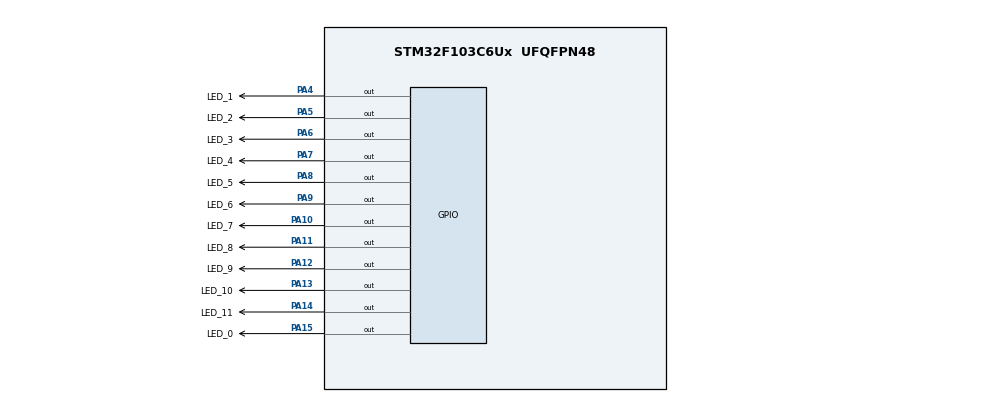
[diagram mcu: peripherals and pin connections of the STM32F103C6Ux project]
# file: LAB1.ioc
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Mcu.Family=STM32F1
Mcu.Name=STM32F103C6Ux
Mcu.Package=UFQFPN48
NVIC.PriorityGroup=NVIC_PRIORITYGROUP_4
PA10.GPIO_Label=LED_7
PA10.Signal=GPIO_Output
PA11.GPIO_Label=LED_8
PA11.Signal=GPIO_Output
PA12.GPIO_Label=LED_9
PA12.Signal=GPIO_Output
PA13.GPIO_Label=LED_10
PA13.Signal=GPIO_Output
PA14.GPIO_Label=LED_11
PA14.Signal=GPIO_Output
PA15.GPIO_Label=LED_0
PA15.Signal=GPIO_Output
PA4.GPIO_Label=LED_1
PA4.Signal=GPIO_Output
PA5.GPIO_Label=LED_2
PA5.Signal=GPIO_Output
PA6.GPIO_Label=LED_3
PA6.Signal=GPIO_Output
PA7.GPIO_Label=LED_4
PA7.Signal=GPIO_Output
PA8.GPIO_Label=LED_5
PA8.Signal=GPIO_Output
PA9.GPIO_Label=LED_6
PA9.Signal=GPIO_Output
ProjectManager.HeapSize=0x200
ProjectManager.StackSize=0x400
ProjectManager.TargetToolchain=STM32CubeIDE
RCC.APB1Freq_Value=8000000
RCC.APB2Freq_Value=8000000
VP_SYS_VS_ND.Mode=No_Debug
board=custom

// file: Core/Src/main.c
/* USER CODE BEGIN Header */
/**
  ******************************************************************************
  * @file           : main.c
  * @brief          : Main program body
  ******************************************************************************
  * @attention
  *
  * <h2><center>&copy; Copyright (c) 2025 STMicroelectronics.
  * All rights reserved.</center></h2>
  *
  * This software component is licensed by ST under BSD 3-Clause license,
  * the "License"; You may not use this file except in compliance with the
  * License. You may obtain a copy of the License at:
  *                        opensource.org/licenses/BSD-3-Clause
  *
  ******************************************************************************
  */
/* USER CODE END Header */
#include "main.h"

void SystemClock_Config(void);
static void MX_GPIO_Init(void);

int main(void)
{

  /* MCU Configuration--------------------------------------------------------*/

  /* Reset of all peripherals, Initializes the Flash interface and the Systick. */
  HAL_Init();

  /* Configure the system clock */
  SystemClock_Config();

  /* Initialize all configured peripherals */
  MX_GPIO_Init();
  /* USER CODE BEGIN 2 */
  void setNumberOnClock (int num){
	  switch (num){
	  	  case 1:
	  		  HAL_GPIO_WritePin(LED_1_GPIO_Port, LED_1_Pin, GPIO_PIN_SET);
	  		  break;
	  	  case 2:
	  		  HAL_GPIO_WritePin(LED_2_GPIO_Port, LED_2_Pin, GPIO_PIN_SET);
	  		  break;
	  	  case 3:
	  		  HAL_GPIO_WritePin(LED_3_GPIO_Port, LED_3_Pin, GPIO_PIN_SET);
	  		  break;
	  	  case 4:
	  		  HAL_GPIO_WritePin(LED_4_GPIO_Port, LED_4_Pin, GPIO_PIN_SET);
	  		  break;
	  	  case 5:
	  		  HAL_GPIO_WritePin(LED_5_GPIO_Port, LED_5_Pin, GPIO_PIN_SET);
	  		  break;
	  	  case 6:
	  		  HAL_GPIO_WritePin(LED_6_GPIO_Port, LED_6_Pin, GPIO_PIN_SET);
	  		  break;
	  	  case 7:
	  		  HAL_GPIO_WritePin(LED_7_GPIO_Port, LED_7_Pin, GPIO_PIN_SET);
	  		  break;
	  	  case 8:
	  		  HAL_GPIO_WritePin(LED_8_GPIO_Port, LED_8_Pin, GPIO_PIN_SET);
	  		  break;
	  	  case 9:
	  		  HAL_GPIO_WritePin(LED_9_GPIO_Port, LED_9_Pin, GPIO_PIN_SET);
	  		  break;
	  	  case 10:
	  		  HAL_GPIO_WritePin(LED_10_GPIO_Port, LED_10_Pin, GPIO_PIN_SET);
	  		  break;
	  	  case 11:
	  		  HAL_GPIO_WritePin(LED_11_GPIO_Port, LED_11_Pin, GPIO_PIN_SET);
	  		  break;
	  	  case 0:
	  		  HAL_GPIO_WritePin(LED_0_GPIO_Port, LED_0_Pin, GPIO_PIN_SET);
	  		  break;
	  }
  }

  void clearNumberOnClock (int num){
	  switch (num){
	  	  case 1:
	  		  HAL_GPIO_WritePin(LED_1_GPIO_Port, LED_1_Pin, GPIO_PIN_RESET);
	  		  break;
	  	  case 2:
	  		  HAL_GPIO_WritePin(LED_2_GPIO_Port, LED_2_Pin, GPIO_PIN_RESET);
	  		  break;
	  	  case 3:
	  		  HAL_GPIO_WritePin(LED_3_GPIO_Port, LED_3_Pin, GPIO_PIN_RESET);
	  		  break;
	  	  case 4:
	  		  HAL_GPIO_WritePin(LED_4_GPIO_Port, LED_4_Pin, GPIO_PIN_RESET);
	  		  break;
	  	  case 5:
	  		  HAL_GPIO_WritePin(LED_5_GPIO_Port, LED_5_Pin, GPIO_PIN_RESET);
	  		  break;
	  	  case 6:
	  		  HAL_GPIO_WritePin(LED_6_GPIO_Port, LED_6_Pin, GPIO_PIN_RESET);
	  		  break;
	  	  case 7:
	  		  HAL_GPIO_WritePin(LED_7_GPIO_Port, LED_7_Pin, GPIO_PIN_RESET);
	  		  break;
	  	  case 8:
	  		  HAL_GPIO_WritePin(LED_8_GPIO_Port, LED_8_Pin, GPIO_PIN_RESET);
	  		  break;
	  	  case 9:
	  		  HAL_GPIO_WritePin(LED_9_GPIO_Port, LED_9_Pin, GPIO_PIN_RESET);
	  		  break;
	  	  case 10:
	  		  HAL_GPIO_WritePin(LED_10_GPIO_Port, LED_10_Pin, GPIO_PIN_RESET);
	  		  break;
	  	  case 11:
	  		  HAL_GPIO_WritePin(LED_11_GPIO_Port, LED_11_Pin, GPIO_PIN_RESET);
	  		  break;
	  	  case 0:
	  		  HAL_GPIO_WritePin(LED_0_GPIO_Port, LED_0_Pin, GPIO_PIN_RESET);
	  		  break;
	  }
  }

  void ClearAllClock (){
	  for (int count=0; count <= 11; count++){
		  clearNumberOnClock(count);
	  }
  }

  /* USER CODE END 2 */

  /* Infinite loop */
  /* USER CODE BEGIN WHILE */
  ClearAllClock();
  int second = 0, minute = 0, hour = 0;
  while (1)
  {
	  int secPos = second/5;
	  int preSec = (secPos+11)%12;
	  int minPos = minute/5;
	  int preMin = (minPos+11)%12;
	  int hourPos = hour;
	  int preHour = (hourPos+11)%12;

	  setNumberOnClock(secPos);
	  if (minPos != preSec && hourPos != preSec) clearNumberOnClock(preSec);

	  setNumberOnClock(minPos);
	  if (secPos != preMin && hourPos != preMin)clearNumberOnClock(preMin);

	  setNumberOnClock(hourPos);
	  if (secPos != preHour && minPos != preHour)clearNumberOnClock(preHour);

	  second++;
	  if (second > 59){
		  second = 0;
		  minute++;
	  }
	  if (minute > 59){
		  minute = 0;
		  hour++;
	  }
	  if (hour > 11) hour = 0;
	  HAL_Delay(5);
    /* USER CODE END WHILE */

  }
}

void SystemClock_Config(void)
{
  RCC_OscInitTypeDef RCC_OscInitStruct = {0};
  RCC_ClkInitTypeDef RCC_ClkInitStruct = {0};

  /** Initializes the RCC Oscillators according to the specified parameters
  * in the RCC_OscInitTypeDef structure.
  */
  RCC_OscInitStruct.OscillatorType = RCC_OSCILLATORTYPE_HSI;
  RCC_OscInitStruct.HSIState = RCC_HSI_ON;
  RCC_OscInitStruct.HSICalibrationValue = RCC_HSICALIBRATION_DEFAULT;
  RCC_OscInitStruct.PLL.PLLState = RCC_PLL_NONE;
  if (HAL_RCC_OscConfig(&RCC_OscInitStruct) != HAL_OK)
  {
    Error_Handler();
  }
  /** Initializes the CPU, AHB and APB buses clocks
  */
  RCC_ClkInitStruct.ClockType = RCC_CLOCKTYPE_HCLK|RCC_CLOCKTYPE_SYSCLK
                              |RCC_CLOCKTYPE_PCLK1|RCC_CLOCKTYPE_PCLK2;
  RCC_ClkInitStruct.SYSCLKSource = RCC_SYSCLKSOURCE_HSI;
  RCC_ClkInitStruct.AHBCLKDivider = RCC_SYSCLK_DIV1;
  RCC_ClkInitStruct.APB1CLKDivider = RCC_HCLK_DIV1;
  RCC_ClkInitStruct.APB2CLKDivider = RCC_HCLK_DIV1;

  if (HAL_RCC_ClockConfig(&RCC_ClkInitStruct, FLASH_LATENCY_0) != HAL_OK)
  {
    Error_Handler();
  }
}

static void MX_GPIO_Init(void)
{
  GPIO_InitTypeDef GPIO_InitStruct = {0};

  /* GPIO Ports Clock Enable */
  __HAL_RCC_GPIOA_CLK_ENABLE();

  /*Configure GPIO pin Output Level */
  HAL_GPIO_WritePin(GPIOA, LED_1_Pin|LED_2_Pin|LED_3_Pin|LED_4_Pin
                          |LED_5_Pin|LED_6_Pin|LED_7_Pin|LED_8_Pin
                          |LED_9_Pin|LED_10_Pin|LED_11_Pin|LED_0_Pin, GPIO_PIN_RESET);

  /*Configure GPIO pins : LED_1_Pin LED_2_Pin LED_3_Pin LED_4_Pin
                           LED_5_Pin LED_6_Pin LED_7_Pin LED_8_Pin
                           LED_9_Pin LED_10_Pin LED_11_Pin LED_0_Pin */
  GPIO_InitStruct.Pin = LED_1_Pin|LED_2_Pin|LED_3_Pin|LED_4_Pin
                          |LED_5_Pin|LED_6_Pin|LED_7_Pin|LED_8_Pin
                          |LED_9_Pin|LED_10_Pin|LED_11_Pin|LED_0_Pin;
  GPIO_InitStruct.Mode = GPIO_MODE_OUTPUT_PP;
  GPIO_InitStruct.Pull = GPIO_NOPULL;
  GPIO_InitStruct.Speed = GPIO_SPEED_FREQ_LOW;
  HAL_GPIO_Init(GPIOA, &GPIO_InitStruct);

}

void Error_Handler(void)
{
  __disable_irq();
  while (1)
  {
  }
}

/************************ (C) COPYRIGHT STMicroelectronics *****END OF FILE****/
